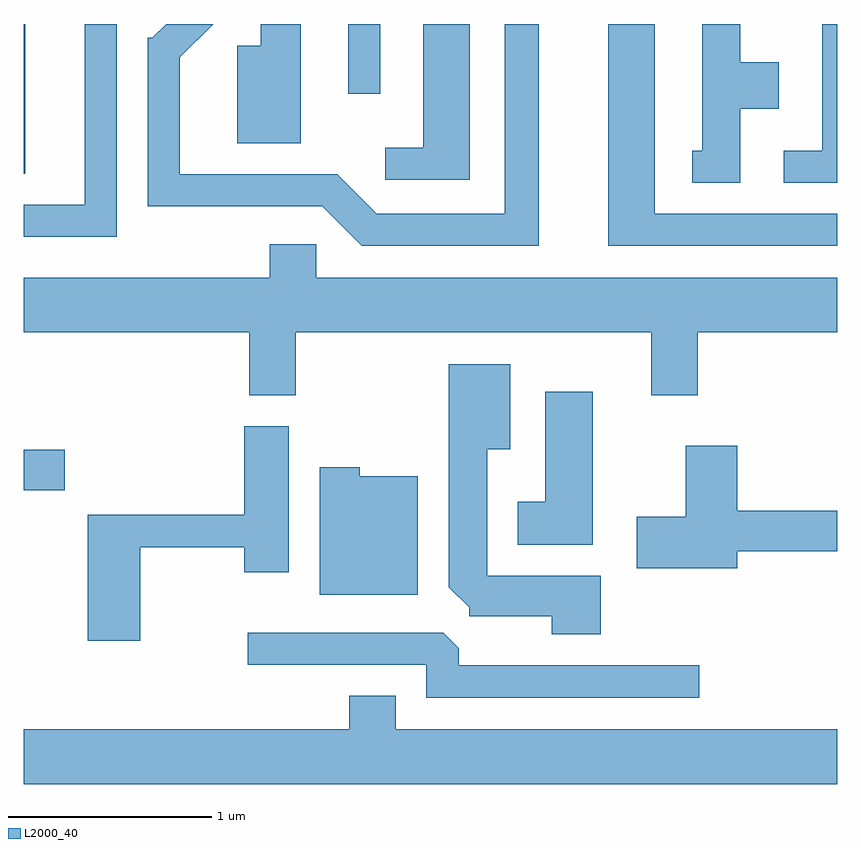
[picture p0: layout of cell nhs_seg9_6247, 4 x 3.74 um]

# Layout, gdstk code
import gdstk
lib = gdstk.Library(unit=1e-6, precision=1e-09)
def R(c, l, rs):  # rectangles x0, y0, x1, y1
    for r in rs: c.add(gdstk.rectangle(r[:2], r[2:], *l))
def P(c, l, *ps):  # polygons
    for p in ps: c.add(gdstk.Polygon(p, *l))
L2000_40 = (2000, 40)

nhs_seg9_6247 = lib.new_cell('nhs_seg9_6247')
R(nhs_seg9_6247, L2000_40, [(369.611,2002.141,369.814,2002.339), (369.611,2003.696,369.619,2004.432), (371.206,2004.088,371.364,2004.432)])
P(nhs_seg9_6247, L2000_40, [(372.144,2004.432),(371.976,2004.432),(371.976,2003.499),(371.347,2003.499),(371.152,2003.694),(370.379,2003.694),(370.379,2004.269),(370.542,2004.432),(370.312,2004.432),(370.244,2004.364),(370.221,2004.364),(370.221,2003.536),(371.079,2003.536),(371.274,2003.341),(372.144,2003.341)],
  [(373.611,2004.432),(373.536,2004.432),(373.536,2003.809),(373.348,2003.809),(373.348,2003.651),(373.611,2003.651)],
  [(373.611,2003.499),(372.714,2003.499),(372.714,2004.432),(372.486,2004.432),(372.486,2003.341),(373.611,2003.341)],
  [(370.069,2004.432),(369.911,2004.432),(369.911,2003.544),(369.611,2003.544),(369.611,2003.386),(370.069,2003.386)],
  [(373.134,2004.016),(373.324,2004.016),(373.324,2004.244),(373.134,2004.244),(373.134,2004.432),(372.946,2004.432),(372.946,2003.809),(372.898,2003.809),(372.898,2003.651),(373.134,2003.651)],
  [(370.974,2004.432),(370.776,2004.432),(370.776,2004.324),(370.661,2004.324),(370.661,2003.846),(370.974,2003.846)],
  [(371.804,2004.432),(371.576,2004.432),(371.576,2003.824),(371.388,2003.824),(371.388,2003.666),(371.804,2003.666)],
  [(370.949,2002.916),(372.696,2002.916),(372.696,2002.606),(372.924,2002.606),(372.924,2002.916),(373.611,2002.916),(373.611,2003.184),(371.049,2003.184),(371.049,2003.349),(370.821,2003.349),(370.821,2003.184),(369.611,2003.184),(369.611,2002.916),(370.721,2002.916),(370.721,2002.606),(370.949,2002.606)],
  [(372.449,2001.719),(371.889,2001.719),(371.889,2002.341),(372.004,2002.341),(372.004,2002.759),(371.701,2002.759),(371.701,2001.664),(371.801,2001.564),(371.801,2001.521),(372.206,2001.521),(372.206,2001.431),(372.449,2001.431)],
  [(372.409,2002.624),(372.176,2002.624),(372.176,2002.084),(372.041,2002.084),(372.041,2001.871),(372.409,2001.871)],
  [(370.184,2001.861),(370.696,2001.861),(370.696,2001.736),(370.914,2001.736),(370.914,2002.454),(370.696,2002.454),(370.696,2002.019),(369.926,2002.019),(369.926,2001.401),(370.184,2001.401)],
  [(373.119,2001.841),(373.611,2001.841),(373.611,2002.039),(373.119,2002.039),(373.119,2002.359),(372.866,2002.359),(372.866,2002.009),(372.626,2002.009),(372.626,2001.756),(373.119,2001.756)],
  [(371.549,2002.209),(371.264,2002.209),(371.264,2002.254),(371.066,2002.254),(371.066,2001.626),(371.549,2001.626)],
  [(372.933,2001.279),(371.749,2001.279),(371.749,2001.364),(371.674,2001.439),(370.713,2001.439),(370.713,2001.281),(371.591,2001.281),(371.591,2001.121),(372.933,2001.121)],
  [(373.611,2000.964),(371.439,2000.964),(371.439,2001.129),(371.211,2001.129),(371.211,2000.964),(369.611,2000.964),(369.611,2000.696),(373.611,2000.696)])

lib.write_gds('nhs_seg9_6247.gds')
